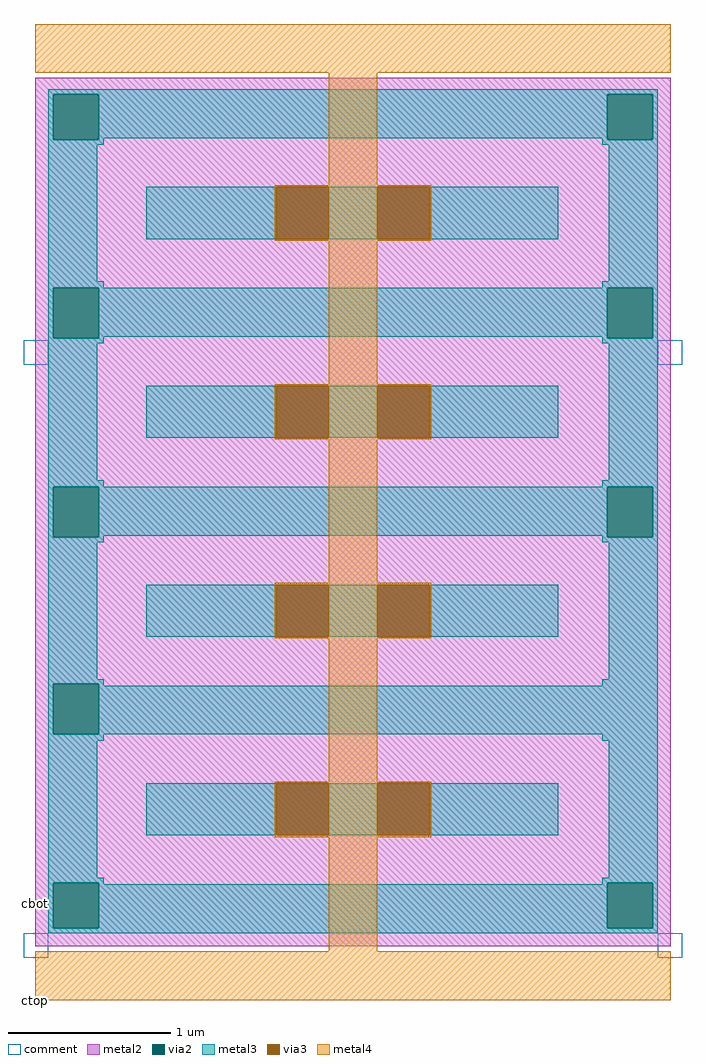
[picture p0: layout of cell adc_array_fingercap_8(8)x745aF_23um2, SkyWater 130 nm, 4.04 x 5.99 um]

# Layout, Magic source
magic
tech sky130A
<< metal2 >>
rect 7 530 397 540
rect 7 502 18 530
rect 46 502 358 530
rect 386 502 397 530
rect 7 411 397 502
rect 7 380 18 411
rect 46 380 358 411
rect 386 380 397 411
rect 7 289 397 380
rect 7 258 18 289
rect 46 258 358 289
rect 386 258 397 289
rect 7 168 397 258
rect 7 137 18 168
rect 46 137 397 168
rect 7 46 397 137
rect 7 18 18 46
rect 46 18 358 46
rect 386 18 397 46
rect 7 7 397 18
<< via2 >>
rect 18 502 46 530
rect 358 502 386 530
rect 18 380 46 411
rect 358 380 386 411
rect 18 258 46 289
rect 358 258 386 289
rect 18 137 46 168
rect 18 18 46 46
rect 358 18 386 46
<< metal3 >>
rect 15 530 389 533
rect 15 502 18 530
rect 46 503 358 530
rect 46 502 49 503
rect 15 499 49 502
rect 355 502 358 503
rect 386 502 389 530
rect 355 499 389 502
rect 15 415 45 499
rect 75 441 155 473
rect 187 441 217 473
rect 249 441 328 473
rect 359 415 389 499
rect 15 411 49 415
rect 355 411 389 415
rect 15 380 18 411
rect 46 381 358 411
rect 46 380 49 381
rect 15 377 49 380
rect 355 380 358 381
rect 386 380 389 411
rect 355 377 389 380
rect 15 293 45 377
rect 75 319 155 351
rect 187 319 217 351
rect 249 319 328 351
rect 359 293 389 377
rect 15 289 49 293
rect 355 289 389 293
rect 15 258 18 289
rect 46 259 358 289
rect 46 258 49 259
rect 15 255 49 258
rect 355 258 358 259
rect 386 258 389 289
rect 355 255 389 258
rect 15 171 45 255
rect 75 197 155 229
rect 187 197 217 229
rect 249 197 328 229
rect 359 171 389 255
rect 15 168 49 171
rect 15 137 18 168
rect 46 167 49 168
rect 355 167 389 171
rect 46 137 389 167
rect 15 133 49 137
rect 355 133 389 137
rect 15 49 45 133
rect 75 75 155 107
rect 187 75 217 107
rect 249 75 328 107
rect 359 49 389 133
rect 15 46 49 49
rect 15 18 18 46
rect 46 45 49 46
rect 355 46 389 49
rect 355 45 358 46
rect 46 18 358 45
rect 386 18 389 46
rect 15 15 389 18
<< via3 >>
rect 155 441 187 473
rect 217 441 249 473
rect 155 319 187 351
rect 217 319 249 351
rect 155 197 187 229
rect 217 197 249 229
rect 155 75 187 107
rect 217 75 249 107
<< metal4 >>
rect 7 543 397 573
rect 187 474 217 543
rect 154 473 250 474
rect 154 441 155 473
rect 187 441 217 473
rect 249 441 250 473
rect 154 440 250 441
rect 187 352 217 440
rect 154 351 250 352
rect 154 319 155 351
rect 187 319 217 351
rect 249 319 250 351
rect 154 318 250 319
rect 187 230 217 318
rect 154 229 250 230
rect 154 197 155 229
rect 187 197 217 229
rect 249 197 250 229
rect 154 196 250 197
rect 187 108 217 196
rect 154 107 250 108
rect 154 75 155 107
rect 187 75 217 107
rect 249 75 250 107
rect 154 74 250 75
rect 187 4 217 74
rect 7 -26 397 4
<< comment >>
rect 0 364 15 379
rect 389 364 404 379
rect 0 0 15 15
rect 389 0 404 15
<< labels >>
rlabel metal4 7 -26 7 -26 1 ctop
rlabel metal2 7 33 7 33 1 cbot
<< end >>
